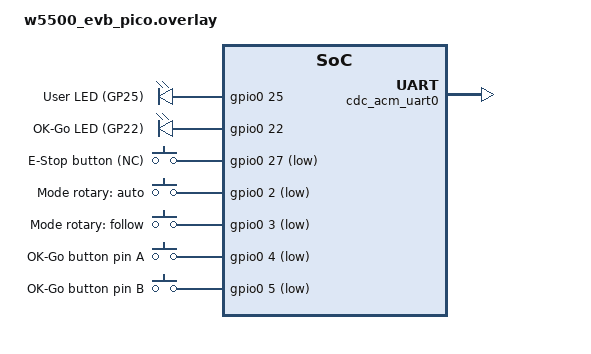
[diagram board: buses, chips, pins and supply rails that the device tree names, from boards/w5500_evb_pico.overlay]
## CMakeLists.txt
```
# apps/estop/CMakeLists.txt — E_STOP per-device Zephyr app (BL-015 step 2).
#
# Felépítés:
#   1. ZEPHYR_EXTRA_MODULES — közös micro-ROS lib + repo-szintű w6100 modul.
#      A w6100 modul host-oldalon a repo gyökerében van (modules/w6100_driver/),
#      konténerben a Makefile mountolja /workdir/modules-ra és exportálja a
#      W6100_MODULE_DIR env-et — így a CMakeLists nem függ host vs. konténer
#      relatív útvonalak különbségétől (régen ${CMAKE_CURRENT_SOURCE_DIR}/
#      modules/w6100_driver volt, mert a modul az app/ alatt élt).
#   2. find_package(Zephyr) — standard Zephyr build init.
#   3. add_subdirectory(common) — beemeli a közös réteget (main.c, bridge/,
#      drivers/, config/, shell/) a default `app` target-hez (target_sources(app
#      PRIVATE …) stílus, NEM zephyr_library_named — lásd common/CMakeLists.txt:
#      a libmicroros/littlefs include-ok csak az `app` target-en öröklődnek).
#      Útvonal: COMMON_DIR env (Makefile állítja /workdir/common-ra), így
#      egyszerűen váltható, ha a közös réteg helye módosul.
#   4. target_sources(app PRIVATE src/...) — E_STOP-specifikus source-ok
#      (estop.c + user_channels.c, csak az estop csatornát regisztrálja).
#   5. include path: src/ — hogy a saját estop.h elérhető legyen; a közös
#      header-eket a common/CMakeLists.txt zephyr_include_directories(src)-je
#      teszi globálissá.
cmake_minimum_required(VERSION 3.20.0)

list(APPEND ZEPHYR_EXTRA_MODULES
    $ENV{ZEPHYR_BASE}/../modules/lib/micro_ros_zephyr_module/modules/libmicroros
    $ENV{W6100_MODULE_DIR})

find_package(Zephyr REQUIRED HINTS $ENV{ZEPHYR_BASE})
project(w6100_pico_bridge_estop)

# Közös réteg (zephyr_library_named: w6100_bridge_common)
add_subdirectory(
    $ENV{COMMON_DIR}
    ${CMAKE_CURRENT_BINARY_DIR}/common)

target_sources(app PRIVATE
    src/user_channels.c
    src/estop.c
    src/mode.c
    src/okgo_btn.c
    src/okgo_led.c
)

target_include_directories(app PRIVATE src)
```

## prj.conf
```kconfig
# USB CDC ACM - serial konzol
CONFIG_USB_DEVICE_STACK=y
CONFIG_USB_CDC_ACM=y
CONFIG_UART_LINE_CTRL=y
CONFIG_SERIAL=y
CONFIG_CONSOLE=y
CONFIG_UART_CONSOLE=y

# Networking
CONFIG_NETWORKING=y
CONFIG_NET_L2_ETHERNET=y
CONFIG_NET_L2_ETHERNET_MGMT=y
# W6100 out-of-tree driver — modules/w6100_driver/ (backport Zephyr main
# upstream PR-ból v4.2.2 alá). Az overlay átírja a &ethernet node compatible
# mezőjét "wiznet,w6100"-ra, így a stock w5500 driver kikapcsolható.
CONFIG_ETH_W5500=n
CONFIG_ETH_W6100=y
CONFIG_NET_IPV4=y
CONFIG_NET_UDP=y
CONFIG_NET_LOG=y

# IP konfig — a tényleges beállítás config.json-ból jön (main.c)
CONFIG_NET_DHCPV4=y

# Hostname — set dynamically at runtime from node_name
CONFIG_NET_HOSTNAME_ENABLE=y
CONFIG_NET_HOSTNAME_DYNAMIC=y
CONFIG_NET_HOSTNAME="ROS_Bridge"
CONFIG_NET_HOSTNAME_MAX_LEN=63

# POSIX sockets (micro-ROS UDP transport)
CONFIG_POSIX_API=y
CONFIG_NET_SOCKETS=y

# Network buffers (RP2040: 264KB RAM)
CONFIG_NET_PKT_RX_COUNT=8
CONFIG_NET_PKT_TX_COUNT=8
CONFIG_NET_BUF_RX_COUNT=24
CONFIG_NET_BUF_TX_COUNT=24

# micro-ROS
# Az agent IP-t runtime config.json dönti el (devices/E_STOP/config.json →
# 10.0.10.1 prod). Compile-time default = prod subnet gateway, így ha a
# LittleFS config elveszik, a factory fallback is prod hálózatra néz.
CONFIG_MICROROS=y
CONFIG_MICROROS_TRANSPORT_UDP=y
CONFIG_MICROROS_AGENT_IP="10.0.10.1"
CONFIG_MICROROS_AGENT_PORT="8888"

# C++ és newlib (micro-ROS szükséges)
CONFIG_CPP=y
CONFIG_NEWLIB_LIBC=y
CONFIG_NEWLIB_LIBC_NANO=n

# Logging
CONFIG_LOG=y
CONFIG_LOG_DEFAULT_LEVEL=3
CONFIG_LOG_PROCESS_THREAD_STACK_SIZE=2048

# Random number generator (networking igényli)
CONFIG_ENTROPY_GENERATOR=y
CONFIG_TEST_RANDOM_GENERATOR=y

# Heap / Stack (micro-ROS nagyobb igény)
CONFIG_HEAP_MEM_POOL_SIZE=98304
CONFIG_MAIN_STACK_SIZE=16384

# Flash + LittleFS (config tárolás)
CONFIG_FLASH=y
CONFIG_FLASH_MAP=y
CONFIG_FLASH_PAGE_LAYOUT=y
CONFIG_FILE_SYSTEM=y
CONFIG_FILE_SYSTEM_LITTLEFS=y
CONFIG_FS_LITTLEFS_FC_HEAP_SIZE=4096

# Shell (config parancsok soros konzolon)
CONFIG_SHELL=y
CONFIG_SHELL_BACKEND_SERIAL=y
CONFIG_SHELL_STACK_SIZE=4096
CONFIG_SHELL_ARGC_MAX=8
CONFIG_SHELL_CMD_BUFF_SIZE=256
CONFIG_SHELL_BACKEND_SERIAL_RX_RING_BUFFER_SIZE=512
CONFIG_SHELL_BACKEND_SERIAL_TX_RING_BUFFER_SIZE=8192
CONFIG_SHELL_STACK_SIZE=8192
CONFIG_REBOOT=y

# Hardware watchdog (RP2040 beépített WDT)
CONFIG_WATCHDOG=y

# Hardware info (RP2040 unique device ID — used for MAC generation)
CONFIG_HWINFO=y

# --- micro-ROS entity limits ---
# Publishers: 16 csatorna + 1 diagnostics + spare = 20 (a param event publisher
#   elvetve BL-017 / ERR-032 miatt, de a slot marad spare-ként).
# Subscribers: 16 csatorna (legrosszabb eset).
# Servers: 2 user service (E-Stop, relay); a 6 param server slot törölve
#   (param_server_init() nincs a main.c-ben — config.json a forrás).
CONFIG_MICROROS_PUBLISHERS="20"
CONFIG_MICROROS_SUBSCRIBERS="16"
CONFIG_MICROROS_SERVERS="2"
CONFIG_MICROROS_CLIENTS="0"
CONFIG_MICROROS_NODES="1"

# --- GPIO interrupt (atomic flag ISR-hez) ---
# CONFIG_ATOMIC_OPERATIONS_BUILTIN nem user-configurable; RP2040-on automatikusan builtin

# --- ADC (akkumulátor feszültségmérés) ---
CONFIG_ADC=y
```

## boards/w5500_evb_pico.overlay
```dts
/*
 * apps/estop/boards/w5500_evb_pico.overlay — E_STOP-only board overlay.
 *
 * Pin-kiosztás (BL-014 Fázis 2 bővítéssel):
 *   - estop_btn   GP27 — NC gomb (GND felé kötve, pull-up), edge-both IRQ
 *   - mode_auto   GP2  — 3-állású rotary, aktív low = "auto"
 *   - mode_follow GP3  — 3-állású rotary, aktív low = "follow"
 *                         (egyik sem aktív → "learn")
 *   - okgo_btn_a  GP4  — safety nyomógomb pin A, aktív low
 *   - okgo_btn_b  GP5  — safety nyomógomb pin B, aktív low
 *                         (read() AND-olja a két pint)
 *   - okgo_led    GP22 — operátor visszajelzés (output, aktív high)
 *   - user_led    GP25 — bridge online indikátor (common/src/main.c)
 *
 * Ethernet: a board default w5500-ot köt a &ethernet node-ra, itt
 * felülírjuk W6100-ra (out-of-tree driver: modules/w6100_driver/).
 *
 * LittleFS: a config.json perzisztens tárolása a flash utolsó 1 MB-jában
 * (offset 15 MB) — szükséges a `bridge config` shell parancsokhoz.
 */

/ {
	chosen {
		zephyr,console = &cdc_acm_uart0;
		zephyr,shell-uart = &cdc_acm_uart0;
	};

	leds {
		compatible = "gpio-leds";
		user_led: led_0 {
			gpios = <&gpio0 25 GPIO_ACTIVE_HIGH>;
			label = "User LED (GP25)";
		};
		okgo_led: okgo_led {
			gpios = <&gpio0 22 GPIO_ACTIVE_HIGH>;
			label = "OK-Go LED (GP22)";
		};
	};

	gpio_channels {
		compatible = "gpio-keys";

		estop_btn: estop_btn {
			gpios = <&gpio0 27 (GPIO_ACTIVE_LOW | GPIO_PULL_UP)>;
			label = "E-Stop button (NC)";
		};
		mode_auto: mode_auto {
			gpios = <&gpio0 2 (GPIO_ACTIVE_LOW | GPIO_PULL_UP)>;
			label = "Mode rotary: auto";
		};
		mode_follow: mode_follow {
			gpios = <&gpio0 3 (GPIO_ACTIVE_LOW | GPIO_PULL_UP)>;
			label = "Mode rotary: follow";
		};
		okgo_btn_a: okgo_btn_a {
			gpios = <&gpio0 4 (GPIO_ACTIVE_LOW | GPIO_PULL_UP)>;
			label = "OK-Go button pin A";
		};
		okgo_btn_b: okgo_btn_b {
			gpios = <&gpio0 5 (GPIO_ACTIVE_LOW | GPIO_PULL_UP)>;
			label = "OK-Go button pin B";
		};
	};

	aliases {
		led0        = &user_led;
		estop-btn   = &estop_btn;
		mode-auto   = &mode_auto;
		mode-follow = &mode_follow;
		okgo-btn-a  = &okgo_btn_a;
		okgo-btn-b  = &okgo_btn_b;
		okgo-led    = &okgo_led;
	};
};

&zephyr_udc0 {
	cdc_acm_uart0: cdc_acm_uart0 {
		compatible = "zephyr,cdc-acm-uart";
	};
};

&ethernet {
	compatible = "wiznet,w6100";
};

/* LittleFS storage partition — last 1MB of flash (offset 15MB) */
&flash0 {
	partitions {
		storage_partition: partition@f00000 {
			label = "storage";
			reg = <0x00f00000 0x00100000>;
		};
	};
};
```

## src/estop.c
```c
#include "estop.h"
#include "bridge/channel_manager.h"
#include "drivers/drv_gpio.h"

#include <zephyr/kernel.h>
#include <zephyr/logging/log.h>

LOG_MODULE_REGISTER(estop, LOG_LEVEL_INF);

/* ------------------------------------------------------------------ */
/*  Hardware config                                                    */
/*                                                                     */
/*  NC gomb GP27 és GND között, pull-up engedélyezve (overlay-ben).   */
/*  GPIO_ACTIVE_LOW miatt gpio_pin_get logikai értékei:                */
/*    1 = gomb ZÁRVA  (normál állapot, rendszer OK)                    */
/*    0 = gomb NYITVA (E-Stop aktiválva, veszély)                      */
/*  A csatorna true-t publikál, ha az E-Stop aktív.                   */
/* ------------------------------------------------------------------ */

static gpio_channel_cfg_t estop_cfg = {
	.spec      = GPIO_DT_SPEC_GET(DT_ALIAS(estop_btn), gpios),
	.dir       = GPIO_INPUT,
	.irq_flags = GPIO_INT_EDGE_BOTH,
};

static int estop_init(void)
{
	int idx = channel_manager_find_by_name("estop");

	if (idx < 0) {
		LOG_ERR("estop channel not found in registry");
		return -ENODEV;
	}

	return drv_gpio_setup_irq(idx, &estop_cfg);
}

static void estop_read(channel_value_t *val)
{
	/* gpio returns 0 when E-Stop is triggered (button open, pin pulled high,
	 * but ACTIVE_LOW inverts: high → logical 0).
	 * Publish true = E-Stop ACTIVE.
	 */
	val->b = (drv_gpio_read(&estop_cfg) == 0);
}

const channel_t estop_channel = {
	.name        = "estop",
	.topic_pub   = "estop",
	.topic_sub   = NULL,
	.msg_type    = MSG_BOOL,
	/*
	 * 20 Hz fallback = 50 ms — safety heartbeat a subscriber
	 * stale-detekciójához. Az állapot-váltásokra irq_capable=true miatt
	 * IRQ-alapú azonnali publish érkezik (<1 ms), a period csak a live
	 * signal. 20 Hz konzisztens az RC switch rate-tel (BL-011, memory §6).
	 * BL-014 Fázis 1 méréssel igazolva (2026-04-20): 500 ms → 50 ms.
	 */
	.period_ms   = 50,
	.irq_capable = true,
	.init        = estop_init,
	.read        = estop_read,
	.write       = NULL,
};
```

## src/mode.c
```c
#include "mode.h"
#include "bridge/channel_manager.h"
#include "drivers/drv_gpio.h"

#include <zephyr/kernel.h>
#include <zephyr/logging/log.h>

LOG_MODULE_REGISTER(mode, LOG_LEVEL_INF);

/* ------------------------------------------------------------------ */
/*  3-state rotary switch — 2 GPIO pin, közös csatorna                */
/*                                                                     */
/*  Overlay (ACTIVE_LOW | PULL_UP):                                    */
/*    mode-auto   GP2 — aktív → publish 2                             */
/*    mode-follow GP3 — aktív → publish 1                             */
/*    egyik sem aktív (közép állás)  → publish 0 (learn)              */
/*                                                                     */
/*  Mindkét pin edge-both IRQ-ot regisztrál ugyanarra a channel_idx-re,*/
/*  így bármelyik állapotváltás azonnali publish-t trigger-el.        */
/* ------------------------------------------------------------------ */

enum {
	MODE_LEARN  = 0,
	MODE_FOLLOW = 1,
	MODE_AUTO   = 2,
};

static gpio_channel_cfg_t mode_auto_cfg = {
	.spec      = GPIO_DT_SPEC_GET(DT_ALIAS(mode_auto), gpios),
	.dir       = GPIO_INPUT,
	.irq_flags = GPIO_INT_EDGE_BOTH,
};

static gpio_channel_cfg_t mode_follow_cfg = {
	.spec      = GPIO_DT_SPEC_GET(DT_ALIAS(mode_follow), gpios),
	.dir       = GPIO_INPUT,
	.irq_flags = GPIO_INT_EDGE_BOTH,
};

static int mode_init(void)
{
	int idx = channel_manager_find_by_name("mode");

	if (idx < 0) {
		LOG_ERR("mode channel not found in registry");
		return -ENODEV;
	}

	int rc = drv_gpio_setup_irq(idx, &mode_auto_cfg);
	if (rc < 0) {
		return rc;
	}
	return drv_gpio_setup_irq(idx, &mode_follow_cfg);
}

static void mode_read(channel_value_t *val)
{
	/* ACTIVE_LOW overlay + gpio_pin_get_dt inverzió: 1 = aktív. */
	bool auto_on   = (drv_gpio_read(&mode_auto_cfg)   == 1);
	bool follow_on = (drv_gpio_read(&mode_follow_cfg) == 1);

	if (auto_on) {
		val->i32 = MODE_AUTO;
	} else if (follow_on) {
		val->i32 = MODE_FOLLOW;
	} else {
		val->i32 = MODE_LEARN;
	}
}

const channel_t mode_channel = {
	.name        = "mode",
	.topic_pub   = "mode",
	.topic_sub   = NULL,
	.msg_type    = MSG_INT32,
	/*
	 * 100 ms fallback heartbeat — az állapotváltás IRQ-n keresztül
	 * <1 ms latency-vel érkezik, a periodikus publish csak stale
	 * detekcióhoz kell a subscriber oldalon.
	 */
	.period_ms   = 100,
	.irq_capable = true,
	.init        = mode_init,
	.read        = mode_read,
	.write       = NULL,
};
```

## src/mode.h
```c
#ifndef USER_MODE_H
#define USER_MODE_H

#include "bridge/channel.h"

extern const channel_t mode_channel;

#endif /* USER_MODE_H */
```

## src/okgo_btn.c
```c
#include "okgo_btn.h"
#include "bridge/channel_manager.h"
#include "drivers/drv_gpio.h"

#include <zephyr/kernel.h>
#include <zephyr/logging/log.h>

LOG_MODULE_REGISTER(okgo_btn, LOG_LEVEL_INF);

/* ------------------------------------------------------------------ */
/*  OK-Go nyomógomb — safety 2-pin AND                                */
/*                                                                     */
/*  Overlay (ACTIVE_LOW | PULL_UP):                                    */
/*    okgo-btn-a GP4                                                   */
/*    okgo-btn-b GP5                                                   */
/*                                                                     */
/*  A két pin ugyanannak a nyomógombnak két redundáns kontaktusa; a   */
/*  publikált érték csak akkor true, ha MINDKETTŐ aktív — ha az egyik */
/*  kontaktus megszakad, a safety AND nem húz be. Mindkét pinre IRQ  */
/*  edge-both regisztrálódik ugyanarra a channel_idx-re.               */
/* ------------------------------------------------------------------ */

static gpio_channel_cfg_t okgo_a_cfg = {
	.spec      = GPIO_DT_SPEC_GET(DT_ALIAS(okgo_btn_a), gpios),
	.dir       = GPIO_INPUT,
	.irq_flags = GPIO_INT_EDGE_BOTH,
};

static gpio_channel_cfg_t okgo_b_cfg = {
	.spec      = GPIO_DT_SPEC_GET(DT_ALIAS(okgo_btn_b), gpios),
	.dir       = GPIO_INPUT,
	.irq_flags = GPIO_INT_EDGE_BOTH,
};

static int okgo_btn_init(void)
{
	int idx = channel_manager_find_by_name("okgo_btn");

	if (idx < 0) {
		LOG_ERR("okgo_btn channel not found in registry");
		return -ENODEV;
	}

	int rc = drv_gpio_setup_irq(idx, &okgo_a_cfg);
	if (rc < 0) {
		return rc;
	}
	return drv_gpio_setup_irq(idx, &okgo_b_cfg);
}

static void okgo_btn_read(channel_value_t *val)
{
	/* ACTIVE_LOW + gpio_pin_get_dt inverzió: 1 = gomb lenyomva. */
	val->b = (drv_gpio_read(&okgo_a_cfg) == 1) &&
		 (drv_gpio_read(&okgo_b_cfg) == 1);
}

const channel_t okgo_btn_channel = {
	.name        = "okgo_btn",
	.topic_pub   = "okgo_btn",
	.topic_sub   = NULL,
	.msg_type    = MSG_BOOL,
	/*
	 * 100 ms fallback heartbeat — az állapotváltás IRQ-n keresztül
	 * <1 ms latency-vel érkezik, a periodikus publish csak stale
	 * detekcióhoz kell a subscriber oldalon.
	 */
	.period_ms   = 100,
	.irq_capable = true,
	.init        = okgo_btn_init,
	.read        = okgo_btn_read,
	.write       = NULL,
};
```

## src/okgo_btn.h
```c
#ifndef USER_OKGO_BTN_H
#define USER_OKGO_BTN_H

#include "bridge/channel.h"

extern const channel_t okgo_btn_channel;

#endif /* USER_OKGO_BTN_H */
```

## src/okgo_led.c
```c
#include "okgo_led.h"
#include "drivers/drv_gpio.h"
#include <zephyr/logging/log.h>

LOG_MODULE_REGISTER(okgo_led, LOG_LEVEL_DBG);

/* ------------------------------------------------------------------ */
/*  OK-Go visszajelző LED — subscribe-only output csatorna             */
/*                                                                     */
/*  Overlay (ACTIVE_HIGH, output):                                     */
/*    okgo-led GP22                                                    */
/*                                                                     */
/*  Írható std_msgs/Bool (topic default: okgo_led). A write() a       */
/*  logikai értéket közvetlenül a pinre teszi — ACTIVE_HIGH miatt     */
/*  true → pin magas, false → pin alacsony.                            */
/* ------------------------------------------------------------------ */

static gpio_channel_cfg_t okgo_led_cfg = {
	.spec = GPIO_DT_SPEC_GET(DT_ALIAS(okgo_led), gpios),
	.dir  = GPIO_OUTPUT,
};

static int okgo_led_init(void)
{
	return drv_gpio_setup_output(&okgo_led_cfg);
}

static void okgo_led_write(const channel_value_t *val)
{
	LOG_DBG("write CB: val=%d", val->b ? 1 : 0);
	drv_gpio_write(&okgo_led_cfg, val->b ? 1 : 0);
}

const channel_t okgo_led_channel = {
	.name        = "okgo_led",
	.topic_pub   = NULL,
	.topic_sub   = "okgo_led",
	.msg_type    = MSG_BOOL,
	.period_ms   = 0,
	.irq_capable = false,
	.init        = okgo_led_init,
	.read        = NULL,
	.write       = okgo_led_write,
};
```

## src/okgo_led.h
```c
#ifndef USER_OKGO_LED_H
#define USER_OKGO_LED_H

#include "bridge/channel.h"

extern const channel_t okgo_led_channel;

#endif /* USER_OKGO_LED_H */
```

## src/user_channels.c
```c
/*
 * apps/estop/src/user_channels.c — E_STOP per-device csatorna-regiszter (BL-015 step 2).
 *
 * A régi közös app/src/user/user_channels.c minden device csatornáját
 * felsorolta (test_*, estop, rc_ch1..6) és config-flag alapján döntött a
 * regisztrációról. Itt csak a ténylegesen E_STOP-hoz tartozó csatornák
 * jelennek meg — a binárisban más device kódja (rc.c, test_channels.c)
 * fizikailag nincs jelen.
 *
 * A "register_if_enabled" pattern megmarad: a runtime config (devices/E_STOP/
 * config.json) eldöntheti, hogy az adott csatornát aktív legyen-e — ezzel a
 * meglévő config_channel_enabled() szemantika változatlan.
 *
 * BL-014 Fázis 2: mode (GP2/GP3 rotary), okgo_btn (GP4/GP5 AND),
 * okgo_led (GP22 output) csatornák regisztrálva.
 */

#include "user/user_channels.h"
#include "bridge/channel_manager.h"
#include "config/config.h"
#include "estop.h"
#include "mode.h"
#include "okgo_btn.h"
#include "okgo_led.h"

static void register_if_enabled(const channel_t *ch)
{
	if (config_channel_enabled(ch->name)) {
		channel_register(ch);
	}
}

void user_register_channels(void)
{
	register_if_enabled(&estop_channel);
	register_if_enabled(&mode_channel);
	register_if_enabled(&okgo_btn_channel);
	register_if_enabled(&okgo_led_channel);
}
```
